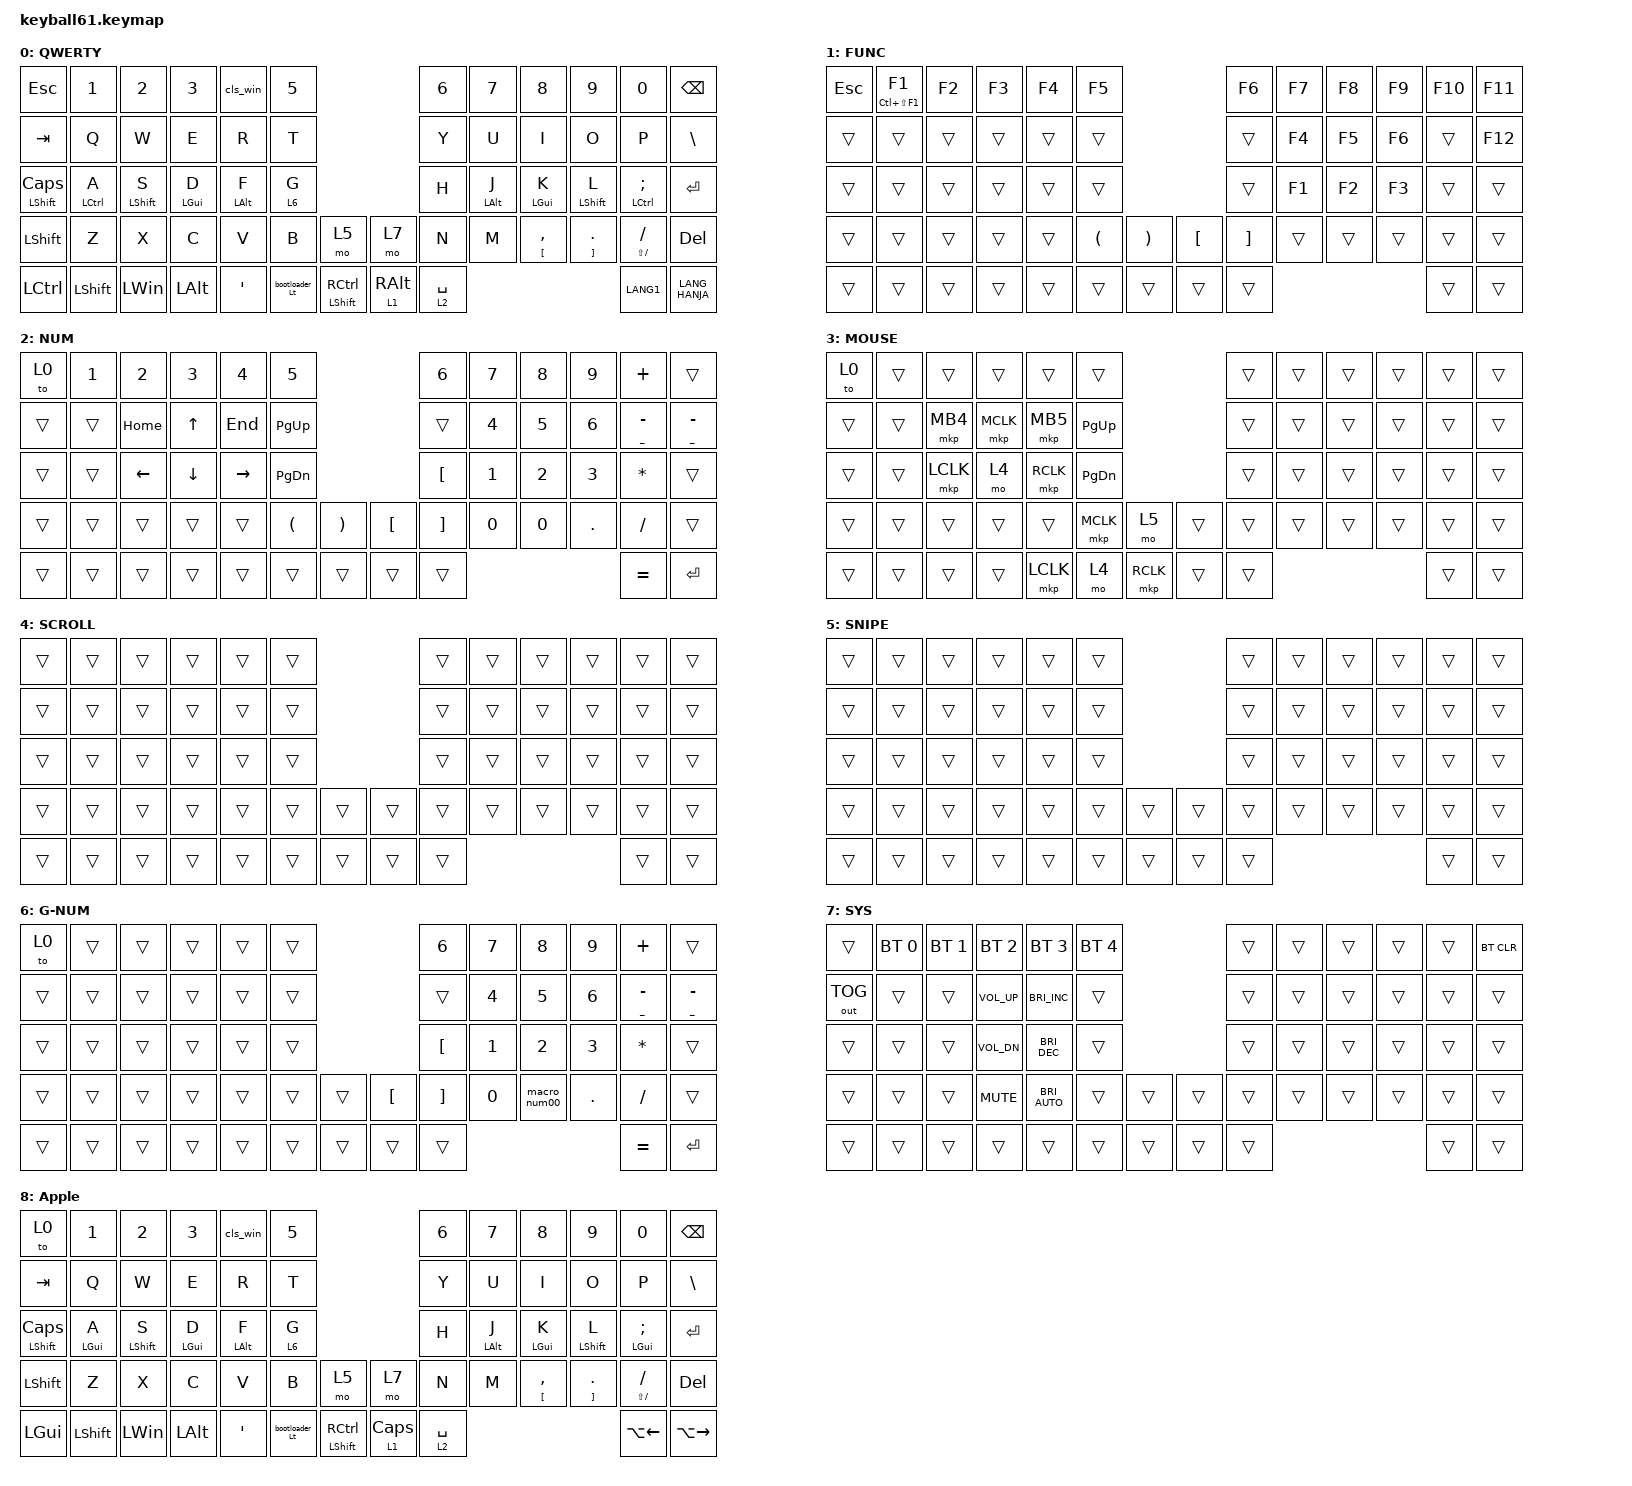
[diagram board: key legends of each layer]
#define DEFAULT 0
#define SYM     1
#define FUN     2
#define MOUSE   3
#define SCROLL  4
#define SNIPE   5

#include <behaviors/mouse_keys.dtsi>
#include <dt-bindings/zmk/mouse.h>
#include <behaviors.dtsi>
#include <dt-bindings/zmk/bt.h>
#include <dt-bindings/zmk/keys.h>
#include <dt-bindings/zmk/outputs.h>
#include <dt-bindings/zmk/pointing.h>

&lt {
    tapping-term-ms = <240>;
    flavor = "balanced";
    quick-tap-ms = <150>;
};

&mt {
    tapping-term-ms = <200>;
    flavor = "tap-preferred";
    quick-tap-ms = <150>;
};

/ {
    behaviors {
        hrow: homerow_mods {
            compatible = "zmk,behavior-hold-tap";
            label = "HOMEROW_MODS";
            bindings = <&kp>, <&kp>;

            #binding-cells = <2>;
            tapping-term-ms = <200>;
            quick-tap-ms = <200>;
            flavor = "balanced";
            require-prior-idle-ms = <130>;
        };

        cls_win: cls_win {
            compatible = "zmk,behavior-tap-dance";
            label = "CLS_WIN";
            #binding-cells = <0>;
            bindings = <&kp N4>, <&macro_44>, <&kp LA(F4)>;
        };

        hold_layer: hold_layer {
            compatible = "zmk,behavior-hold-tap";
            label = "HOLD_LAYER";
            bindings = <&mo>, <&kp>;

            #binding-cells = <2>;
            tapping-term-ms = <200>;
            quick-tap-ms = <150>;
            require-prior-idle-ms = <125>;
            flavor = "tap-preferred";
        };

        bootloader_Lt: bootloader_Lt {
            compatible = "zmk,behavior-mod-morph";
            label = "BOOTLOADER_LT";
            bindings = <&kp SPACE>, <&bootloader>;

            #binding-cells = <0>;
            mods = <(MOD_LSFT|MOD_LCTL)>;
        };
    };

    combos {
        compatible = "zmk,combos";

        bootloader_rt {
            bindings = <&bootloader>;
            key-positions = <49 60>;
        };

        toggle_num_layer {
            bindings = <&tog 2>;
            key-positions = <26 27 28>;
        };

        tilde {
            bindings = <&kp TILDE>;
            key-positions = <0 1>;
        };

        ctrl_z {
            bindings = <&kp LC(Z)>;
            key-positions = <37 38>;
        };

        ctrl_Q {
            bindings = <&kp LC(Q)>;
            key-positions = <13 14>;
        };

        to_iOS_layer {
            bindings = <&to 8>;
            key-positions = <31 32 33>;
        };

        end_remote {
            bindings = <&kp LS(LC(LA(Q)))>;
            key-positions = <13 14 15>;
        };

        ctrl+a {
            bindings = <&kp LC(A)>;
            key-positions = <37 25>;
        };

        auto-parenth {
            bindings = <&auto_parentheses>;
            key-positions = <41 42>;
        };

        auto-brkt {
            bindings = <&auto_bracket>;
            key-positions = <43 44>;
        };

        press_mouse_layer {
            bindings = <&mo 3>;
            key-positions = <45 46 47>;
        };

        mouse_L {
            bindings = <&mkp MB1>;
            key-positions = <32 31>;
        };

        mouse_R {
            bindings = <&mkp MB2>;
            key-positions = <32 33>;
        };

        mouse_scroll {
            bindings = <&mo 4>;
            key-positions = <33 31>;
        };

        mouse-middle {
            bindings = <&mkp MCLK>;
            key-positions = <19 21>;
        };

        mouse_prev {
            bindings = <&mkp MB4>;
            key-positions = <45 46>;
        };

        mouse_next {
            bindings = <&mkp MB5>;
            key-positions = <46 47>;
        };
    };

    macros {
        macro_44: macro_00 {
            compatible = "zmk,behavior-macro";
            #binding-cells = <0>;
            bindings = <&kp NUMBER_4 &kp N4>;
            label = "MACRO_00";
        };

        auto_bracket: auto_brkt {
            compatible = "zmk,behavior-macro";
            #binding-cells = <0>;
            bindings = <&kp LEFT_BRACKET &kp RIGHT_BRACKET &kp LEFT>;
            label = "AUTO_BRKT";
        };

        auto_parentheses: auto_parentheses {
            compatible = "zmk,behavior-macro";
            #binding-cells = <0>;
            bindings = <&kp LEFT_PARENTHESIS &kp RIGHT_PARENTHESIS &kp LEFT>;
            label = "AUTO_PARENTHESES";
        };

        macro_num00: macro_num00 {
            compatible = "zmk,behavior-macro";
            #binding-cells = <0>;
            bindings = <&kp N0 &kp N0>;
            label = "MACRO_NUM00";
        };
    };

    keymap {
        compatible = "zmk,keymap";

        default_layer {
            label = "QWERTY";
            bindings = <
&kp ESC                &kp N1                &kp N2              &kp N3            &cls_win          &kp N5                                                     &kp N6               &kp N7            &kp N8                  &kp N9                    &kp N0                        &kp BSPC
&kp TAB                &kp Q                 &kp W               &kp E             &kp R             &kp T                                                      &kp Y                &kp U             &kp I                   &kp O                     &kp P                         &kp BACKSLASH
&hrow LSHIFT CAPSLOCK  &hrow LEFT_CONTROL A  &hrow LEFT_SHIFT S  &hrow LEFT_GUI D  &hrow LEFT_ALT F  &lt 6 G                                                    &kp H                &hrow LEFT_ALT J  &hrow LEFT_GUI K        &hrow LEFT_SHIFT L        &hrow LEFT_CONTROL SEMICOLON  &kp ENTER
&kp LEFT_SHIFT         &kp Z                 &kp X               &kp C             &kp V             &kp B           &mo 5                     &mo 7            &kp N                &kp M             &mt LEFT_BRACKET COMMA  &mt RIGHT_BRACKET PERIOD  &mt LS(SLASH) SLASH           &kp DELETE
&kp LEFT_CONTROL       &kp LEFT_SHIFT        &kp LEFT_WIN        &kp LEFT_ALT      &kp SQT           &bootloader_Lt  &mt LSHIFT RIGHT_CONTROL  &lt 1 RIGHT_ALT  &hold_layer 2 SPACE                                                                      &kp LANG1                     &kp LANG_HANJA
            >;
        };

        function_layer {
            label = "FUNC";
            bindings = <
&kp ESC  &mt LC(LS(F1)) F1  &kp F2  &kp F3  &kp F4  &kp F5                                                         &kp F6             &kp F7  &kp F8  &kp F9  &kp F10  &kp F11
&trans   &trans             &trans  &trans  &trans  &trans                                                         &trans             &kp F4  &kp F5  &kp F6  &trans   &kp F12
&trans   &trans             &trans  &trans  &trans  &trans                                                         &trans             &kp F1  &kp F2  &kp F3  &trans   &trans
&trans   &trans             &trans  &trans  &trans  &kp LEFT_PARENTHESIS  &kp RIGHT_PARENTHESIS  &kp LEFT_BRACKET  &kp RIGHT_BRACKET  &trans  &trans  &trans  &trans   &trans
&trans   &trans             &trans  &trans  &trans  &trans                &trans                 &trans            &trans                                     &trans   &trans
            >;
        };

        number_layer {
            bindings = <
&to 0   &kp N1  &kp N2    &kp N3    &kp N4     &kp N5                                                         &kp N6             &kp N7  &kp N8  &kp N9   &kp PLUS              &trans
&trans  &trans  &kp HOME  &kp UP    &kp END    &kp PG_UP                                                      &trans             &kp N4  &kp N5  &kp N6   &mt UNDERSCORE MINUS  &mt UNDERSCORE MINUS
&trans  &trans  &kp LEFT  &kp DOWN  &kp RIGHT  &kp PG_DN                                                      &kp LEFT_BRACKET   &kp N1  &kp N2  &kp N3   &kp ASTERISK          &trans
&trans  &trans  &trans    &trans    &trans     &kp LEFT_PARENTHESIS  &kp RIGHT_PARENTHESIS  &kp LEFT_BRACKET  &kp RIGHT_BRACKET  &kp N0  &kp N0  &kp DOT  &kp FSLH              &trans
&trans  &trans  &trans    &trans    &trans     &trans                &trans                 &trans            &trans                                      &kp EQUAL             &kp ENTER
            >;

            label = "NUM";
        };

        mouse_layer {
            label = "MOUSE";
            bindings = <
&to 0   &trans  &trans     &trans     &trans     &trans                            &trans  &trans  &trans  &trans  &trans  &trans
&trans  &trans  &mkp MB4   &mkp MCLK  &mkp MB5   &kp PAGE_UP                       &trans  &trans  &trans  &trans  &trans  &trans
&trans  &trans  &mkp LCLK  &mo 4      &mkp RCLK  &kp PAGE_DOWN                     &trans  &trans  &trans  &trans  &trans  &trans
&trans  &trans  &trans     &trans     &trans     &mkp MCLK      &mo 5      &trans  &trans  &trans  &trans  &trans  &trans  &trans
&trans  &trans  &trans     &trans     &mkp LCLK  &mo 4          &mkp RCLK  &trans  &trans                          &trans  &trans
            >;
        };

        scroll_layer {
            label = "SCROLL";
            bindings = <
&trans  &trans  &trans  &trans  &trans  &trans                  &trans  &trans  &trans  &trans  &trans  &trans
&trans  &trans  &trans  &trans  &trans  &trans                  &trans  &trans  &trans  &trans  &trans  &trans
&trans  &trans  &trans  &trans  &trans  &trans                  &trans  &trans  &trans  &trans  &trans  &trans
&trans  &trans  &trans  &trans  &trans  &trans  &trans  &trans  &trans  &trans  &trans  &trans  &trans  &trans
&trans  &trans  &trans  &trans  &trans  &trans  &trans  &trans  &trans                          &trans  &trans
            >;
        };

        snipe_layer {
            label = "SNIPE";
            bindings = <
&trans  &trans  &trans  &trans  &trans  &trans                  &trans  &trans  &trans  &trans  &trans  &trans
&trans  &trans  &trans  &trans  &trans  &trans                  &trans  &trans  &trans  &trans  &trans  &trans
&trans  &trans  &trans  &trans  &trans  &trans                  &trans  &trans  &trans  &trans  &trans  &trans
&trans  &trans  &trans  &trans  &trans  &trans  &trans  &trans  &trans  &trans  &trans  &trans  &trans  &trans
&trans  &trans  &trans  &trans  &trans  &trans  &trans  &trans  &trans                          &trans  &trans
            >;
        };

        G_num_layer {
            label = "G-NUM";
            bindings = <
&to 0   &trans  &trans  &trans  &trans  &trans                            &kp N6             &kp N7  &kp N8        &kp N9   &kp PLUS              &trans
&trans  &trans  &trans  &trans  &trans  &trans                            &trans             &kp N4  &kp N5        &kp N6   &mt UNDERSCORE MINUS  &mt UNDERSCORE MINUS
&trans  &trans  &trans  &trans  &trans  &trans                            &kp LEFT_BRACKET   &kp N1  &kp N2        &kp N3   &kp ASTERISK          &trans
&trans  &trans  &trans  &trans  &trans  &trans  &trans  &kp LEFT_BRACKET  &kp RIGHT_BRACKET  &kp N0  &macro_num00  &kp DOT  &kp FSLH              &trans
&trans  &trans  &trans  &trans  &trans  &trans  &trans  &trans            &trans                                            &kp EQUAL             &kp ENTER
            >;
        };

        system_layer {
            label = "SYS";
            bindings = <
&trans        &bt BT_SEL 0  &bt BT_SEL 1  &bt BT_SEL 2  &bt BT_SEL 3           &bt BT_SEL 4                  &trans  &trans  &trans  &trans  &trans  &bt BT_CLR
&out OUT_TOG  &trans        &trans        &kp C_VOL_UP  &kp C_BRIGHTNESS_INC   &trans                        &trans  &trans  &trans  &trans  &trans  &trans
&trans        &trans        &trans        &kp C_VOL_DN  &kp C_BRIGHTNESS_DEC   &trans                        &trans  &trans  &trans  &trans  &trans  &trans
&trans        &trans        &trans        &kp K_MUTE    &kp C_BRIGHTNESS_AUTO  &trans        &trans  &trans  &trans  &trans  &trans  &trans  &trans  &trans
&trans        &trans        &trans        &trans        &trans                 &trans        &trans  &trans  &trans                          &trans  &trans
            >;
        };

        iOS_layer {
            label = "Apple";
            bindings = <
&to 0                  &kp N1            &kp N2              &kp N3            &cls_win          &kp N5                                                    &kp N6               &kp N7            &kp N8                  &kp N9                    &kp N0                    &kp BSPC
&kp TAB                &kp Q             &kp W               &kp E             &kp R             &kp T                                                     &kp Y                &kp U             &kp I                   &kp O                     &kp P                     &kp BACKSLASH
&hrow LSHIFT CAPSLOCK  &hrow LEFT_GUI A  &hrow LEFT_SHIFT S  &hrow LEFT_GUI D  &hrow LEFT_ALT F  &lt 6 G                                                   &kp H                &hrow LEFT_ALT J  &hrow LEFT_GUI K        &hrow LEFT_SHIFT L        &hrow LEFT_GUI SEMICOLON  &kp ENTER
&kp LEFT_SHIFT         &kp Z             &kp X               &kp C             &kp V             &kp B           &mo 5                     &mo 7           &kp N                &kp M             &mt LEFT_BRACKET COMMA  &mt RIGHT_BRACKET PERIOD  &mt LS(SLASH) SLASH       &kp DELETE
&kp LEFT_GUI           &kp LEFT_SHIFT    &kp LEFT_WIN        &kp LEFT_ALT      &kp SQT           &bootloader_Lt  &mt LSHIFT RIGHT_CONTROL  &lt 1 CAPSLOCK  &hold_layer 2 SPACE                                                                      &kp LA(LEFT)              &kp LA(RIGHT)
            >;
        };
    };
};
